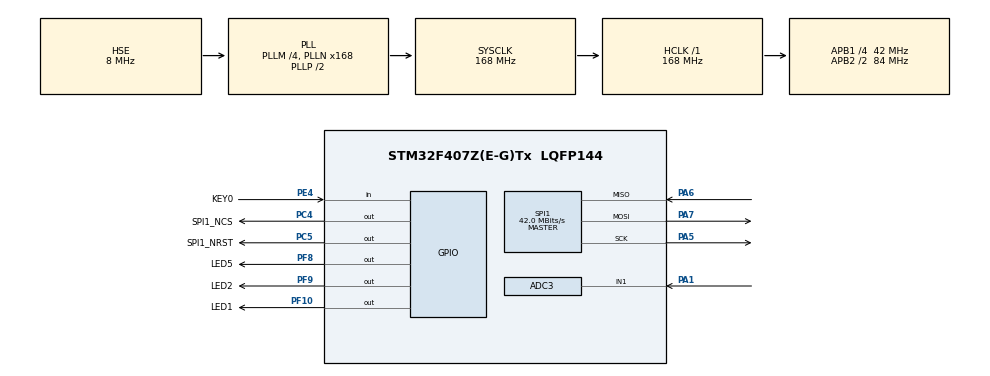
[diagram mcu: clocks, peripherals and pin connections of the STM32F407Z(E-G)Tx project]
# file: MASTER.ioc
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ADC3.Channel-0\#ChannelRegularConversion=ADC_CHANNEL_1
ADC3.ContinuousConvMode=ENABLE
ADC3.DMAContinuousRequests=ENABLE
ADC3.EOCSelection=ADC_EOC_SEQ_CONV
ADC3.InjNumberOfConversion=0
ADC3.NbrOfConversion=1
ADC3.NbrOfConversionFlag=1
ADC3.Rank-0\#ChannelRegularConversion=1
ADC3.Resolution=ADC_RESOLUTION_8B
ADC3.SamplingTime-0\#ChannelRegularConversion=ADC_SAMPLETIME_15CYCLES
ADC3.ScanConvMode=DISABLE
Dma.ADC3.0.Direction=DMA_PERIPH_TO_MEMORY
Dma.ADC3.0.FIFOMode=DMA_FIFOMODE_DISABLE
Dma.ADC3.0.Instance=DMA2_Stream0
Dma.ADC3.0.MemDataAlignment=DMA_MDATAALIGN_BYTE
Dma.ADC3.0.MemInc=DMA_MINC_ENABLE
Dma.ADC3.0.Mode=DMA_NORMAL
Dma.ADC3.0.PeriphDataAlignment=DMA_PDATAALIGN_BYTE
Dma.ADC3.0.PeriphInc=DMA_PINC_DISABLE
Dma.ADC3.0.Priority=DMA_PRIORITY_HIGH
Dma.Request0=ADC3
Mcu.Family=STM32F4
Mcu.Name=STM32F407Z(E-G)Tx
Mcu.Package=LQFP144
NVIC.DMA2_Stream0_IRQn=true\:0\:0\:false\:false\:true\:false\:true\:true
NVIC.PriorityGroup=NVIC_PRIORITYGROUP_4
PA1.Signal=ADCx_IN1
PA5.Mode=Full_Duplex_Master
PA5.Signal=SPI1_SCK
PA6.Mode=Full_Duplex_Master
PA6.Signal=SPI1_MISO
PA7.Mode=Full_Duplex_Master
PA7.Signal=SPI1_MOSI
PB6.Signal=S_TIM4_CH1
PC14-OSC32_IN.Mode=LSE-External-Oscillator
PC14-OSC32_IN.Signal=RCC_OSC32_IN
PC15-OSC32_OUT.Mode=LSE-External-Oscillator
PC15-OSC32_OUT.Signal=RCC_OSC32_OUT
PC4.GPIO_Label=SPI1_NCS
PC4.GPIO_Speed=GPIO_SPEED_FREQ_HIGH
PC4.Signal=GPIO_Output
PC5.GPIO_Label=SPI1_NRST
PC5.GPIO_Speed=GPIO_SPEED_FREQ_HIGH
PC5.Signal=GPIO_Output
PE4.GPIO_Label=KEY0
PE4.GPIO_PuPd=GPIO_PULLUP
PE4.Signal=GPIO_Input
PF10.GPIO_Label=LED1
PF10.Signal=GPIO_Output
PF8.GPIO_Label=LED5
PF8.GPIO_PuPd=GPIO_NOPULL
PF8.Signal=GPIO_Output
PF9.GPIO_Label=LED2
PF9.Signal=GPIO_Output
PH0-OSC_IN.Mode=HSE-External-Oscillator
PH0-OSC_IN.Signal=RCC_OSC_IN
PH1-OSC_OUT.Mode=HSE-External-Oscillator
PH1-OSC_OUT.Signal=RCC_OSC_OUT
ProjectManager.HeapSize=0x200
ProjectManager.StackSize=0x400
ProjectManager.TargetToolchain=MDK-ARM V5.32
RCC.48MHZClocksFreq_Value=84000000
RCC.AHBFreq_Value=168000000
RCC.APB1CLKDivider=RCC_HCLK_DIV4
RCC.APB1Freq_Value=42000000
RCC.APB1TimFreq_Value=84000000
RCC.APB2CLKDivider=RCC_HCLK_DIV2
RCC.APB2Freq_Value=84000000
RCC.APB2TimFreq_Value=168000000
RCC.CortexFreq_Value=168000000
RCC.HCLKFreq_Value=168000000
RCC.HSE_VALUE=8000000
RCC.HSI_VALUE=16000000
RCC.PLLM=4
RCC.PLLN=168
RCC.PLLSourceVirtual=RCC_PLLSOURCE_HSE
RCC.SYSCLKFreq_VALUE=168000000
RCC.SYSCLKSource=RCC_SYSCLKSOURCE_PLLCLK
RCC.VCOOutputFreq_Value=336000000
SH.ADCx_IN1.0=ADC3_IN1,IN1
SH.S_TIM4_CH1.0=TIM4_CH1
SPI1.CalculateBaudRate=42.0 MBits/s
SPI1.Direction=SPI_DIRECTION_2LINES
SPI1.Mode=SPI_MODE_MASTER
SPI1.VirtualType=VM_MASTER
board=custom

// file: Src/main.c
/* USER CODE BEGIN Header */
/**
  ******************************************************************************
  * @file           : main.c
  * @brief          : Main program body
  ******************************************************************************
  * @attention
  *
  * Copyright (c) 2024 STMicroelectronics.
  * All rights reserved.
  *
  * This software is licensed under terms that can be found in the LICENSE file
  * in the root directory of this software component.
  * If no LICENSE file comes with this software, it is provided AS-IS.
  *
  ******************************************************************************
  */
/* USER CODE END Header */
#include "main.h"
#include "adc.h"
#include "dma.h"
#include "spi.h"
#include "gpio.h"

/* USER CODE BEGIN Includes */
#include "stm32f4xx.h"
#include "sys.h"
#include "delay.h"
#include "brd_cfg.h"
#include "M8266HostIf.h"
#include "M8266WIFI_ops.h"
#include "M8266WIFIDrv.h"
#include "math.h"
#include "errcode.h"
/* USER CODE END Includes */

/* USER CODE BEGIN PTD */
#define BUFFER_SIZE 720
#define TD 2
#define ctrl 1
uint8_t buffer[TD][BUFFER_SIZE];
uint8_t cur = 1;
/* USER CODE END PTD */

void SystemClock_Config(void);

int main(void)
{
  /* USER CODE BEGIN 1 */
	uint8_t success=0;
	uint8_t init_status = 0;
  /* USER CODE END 1 */

  /* MCU Configuration--------------------------------------------------------*/

  /* Reset of all peripherals, Initializes the Flash interface and the Systick. */
  HAL_Init();

  /* Configure the system clock */
  SystemClock_Config();

  /* USER CODE BEGIN SysInit */
uint8_t wifi_init(void);
  /* USER CODE END SysInit */

  /* Initialize all configured peripherals */
  MX_GPIO_Init();
  MX_DMA_Init();
  MX_SPI1_Init();
  MX_ADC3_Init();
  /* USER CODE BEGIN 2 */
   delay_Init();
   M8266HostIf_Init();	 //wifi模块硬件初始�?????
  if (init_status != 0){
    wifi_init_err();
  }
	success = M8266WIFI_Module_Init_Via_SPI();
  if (success != 1){
      wifi_spi_err();
      while(1);
  }
	if(wifi_init()==0){
    wifi_workmode_err();
    while(1);
  }  //wifi模块工作模式初始化，报头报尾初始�?????

	HAL_GPIO_WritePin(LED1_GPIO_Port, LED1_Pin, GPIO_PIN_SET);
    HAL_GPIO_WritePin(LED2_GPIO_Port, LED2_Pin, GPIO_PIN_SET);
    HAL_GPIO_WritePin(LED5_GPIO_Port, LED5_Pin, GPIO_PIN_SET);
    HAL_ADC_Start_DMA(&hadc3, (uint32_t *)buffer[0], BUFFER_SIZE);
  /* USER CODE END 2 */

  /* Infinite loop */
  while (1)
  {

  }
}

void SystemClock_Config(void)
{
  RCC_OscInitTypeDef RCC_OscInitStruct = {0};
  RCC_ClkInitTypeDef RCC_ClkInitStruct = {0};

  /** Configure the main internal regulator output voltage
  */
  __HAL_RCC_PWR_CLK_ENABLE();
  __HAL_PWR_VOLTAGESCALING_CONFIG(PWR_REGULATOR_VOLTAGE_SCALE1);

  /** Initializes the RCC Oscillators according to the specified parameters
  * in the RCC_OscInitTypeDef structure.
  */
  RCC_OscInitStruct.OscillatorType = RCC_OSCILLATORTYPE_HSE;
  RCC_OscInitStruct.HSEState = RCC_HSE_ON;
  RCC_OscInitStruct.PLL.PLLState = RCC_PLL_ON;
  RCC_OscInitStruct.PLL.PLLSource = RCC_PLLSOURCE_HSE;
  RCC_OscInitStruct.PLL.PLLM = 4;
  RCC_OscInitStruct.PLL.PLLN = 168;
  RCC_OscInitStruct.PLL.PLLP = RCC_PLLP_DIV2;
  RCC_OscInitStruct.PLL.PLLQ = 4;
  if (HAL_RCC_OscConfig(&RCC_OscInitStruct) != HAL_OK)
  {
    Error_Handler();
  }

  /** Initializes the CPU, AHB and APB buses clocks
  */
  RCC_ClkInitStruct.ClockType = RCC_CLOCKTYPE_HCLK|RCC_CLOCKTYPE_SYSCLK
                              |RCC_CLOCKTYPE_PCLK1|RCC_CLOCKTYPE_PCLK2;
  RCC_ClkInitStruct.SYSCLKSource = RCC_SYSCLKSOURCE_PLLCLK;
  RCC_ClkInitStruct.AHBCLKDivider = RCC_SYSCLK_DIV1;
  RCC_ClkInitStruct.APB1CLKDivider = RCC_HCLK_DIV4;
  RCC_ClkInitStruct.APB2CLKDivider = RCC_HCLK_DIV2;

  if (HAL_RCC_ClockConfig(&RCC_ClkInitStruct, FLASH_LATENCY_5) != HAL_OK)
  {
    Error_Handler();
  }
}

/* USER CODE BEGIN 4 */
uint8_t wifi_init(void)  //wifi初始化函�?????
{
	u8 ssid[9]={"HYGS_2G"};
	u8 password[10]={"HYGS3305"};
  u8 con;
	M8266WIFI_SPI_Set_Opmode(1, 0, NULL);  //设定WIFI工作在STA模式   1=STA 2=AP 3=STA+AP
	M8266WIFI_SPI_STA_Connect_Ap(ssid,password,0,0,NULL);
	M8266WIFI_SPI_Config_STA_StaticIpAddr("192.168.0.111","192.168.0.1","255.255.255.0",0,NULL);

	con = M8266WIFI_SPI_Setup_Connection(2,4321,"192.168.0.1",4321,ctrl,30,NULL);//创建连接1=TCP clint，WiFi模块端口4321，WiFi模块地址192.168.0.200
	//con = M8266WIFI_SPI_Setup_Connection(0,4321,"192.168.0.110",4321,ctrl,30,NULL); //udp 0=UDP
  if(con==0){
   return 0;
  }
  return 1;
}
void HAL_ADC_ConvCpltCallback(ADC_HandleTypeDef* hadc) {
    if (cur == 1) {
       // HAL_ADC_Stop_DMA(hadc);  // Stop ongoing DMA
        HAL_ADC_Start_DMA(&hadc3, (uint32_t*)buffer[1], BUFFER_SIZE);  // Start DMA with the second buffer
        M8266WIFI_SPI_Send_Data(buffer[0],720,ctrl,NULL);
		cur=2;
    }
    else {
       // HAL_ADC_Stop_DMA(hadc);
        HAL_ADC_Start_DMA(&hadc3, (uint32_t*)buffer[0], BUFFER_SIZE);
        M8266WIFI_SPI_Send_Data(buffer[1],720,ctrl,NULL);
        cur=1;
    }
	//send_allowed = 1;
}
/* USER CODE END 4 */

void Error_Handler(void)
{
  __disable_irq();
  while (1)
  {
  }
}
